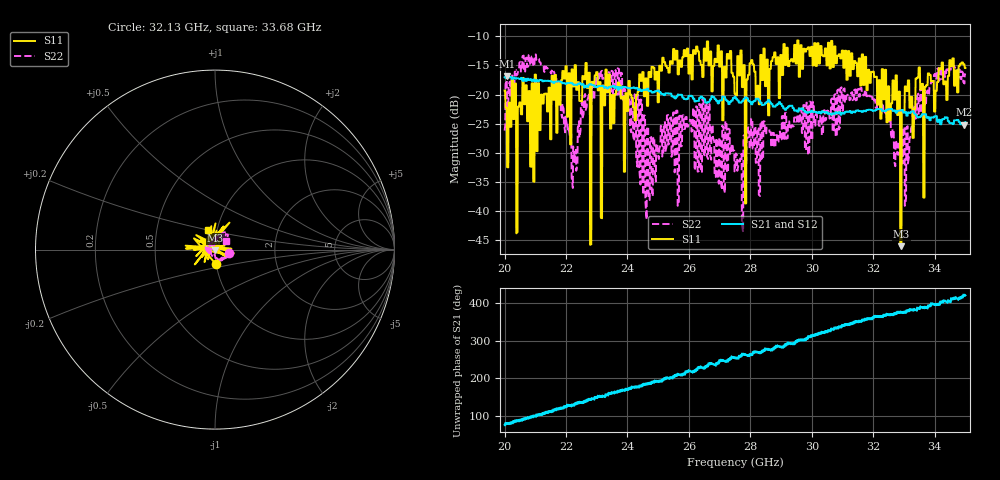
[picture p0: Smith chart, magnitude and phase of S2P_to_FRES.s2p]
! /Users/rfdate/Desktop/Miramar/trace_loss/Path_Loss_Miramar/PATH16_1.S2P
! /Users/rfdate/Desktop/Miramar/trace_loss/Measured_Trace_Loss/LB/LB_V3.s2p
!Created with skrf (http://scikit-rf.org).
# Hz S RI R 50.0
!freq ReS11 ImS11 ReS21 ImS21 ReS12 ImS12 ReS22 ImS22
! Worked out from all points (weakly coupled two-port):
!   1500 points, 20 GHz to 35 GHz, reference 50 ohm
!   highest |S21| = -16.89 dB at 20.08 GHz (marker M1); lowest = -25.2 dB at 34.97 GHz (marker M2)
!   lowest |S11| = -46.0 dB at 32.92 GHz (marker M3), VSWR 1.01, Z = 50.1 - j0.484 ohm
!   |S11| at or under -10 dB: start of sweep to end of sweep
!   |S22| runs from -43.5 to -13.1 dB; largest |S21 - S12| = 0.011
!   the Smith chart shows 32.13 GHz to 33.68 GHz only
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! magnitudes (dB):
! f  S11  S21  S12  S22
! 20 GHz  -19.3  -17.0  -17.0  -26.2
! 20.08 GHz  -32.4  -16.9  -16.8  -22.3
! 21.55 GHz  -16.8  -17.8  -17.9  -16.0
! 22.25 GHz  -18.6  -18.3  -18.4  -29.8
! 22.5 GHz  -21.2  -18.3  -18.3  -21.6
! 22.85 GHz  -17.8  -18.3  -18.4  -18.8
! 22.95 GHz  -16.7  -18.7  -18.7  -17.2
! 23.2 GHz  -18.4  -18.5  -18.5  -17.3
! 23.25 GHz  -21.9  -18.8  -18.9  -16.8
! 23.65 GHz  -19.3  -18.7  -18.7  -19.9
! 24.65 GHz  -21.9  -19.0  -19.1  -25.6
! 25 GHz  -21.3  -19.3  -19.3  -30.7
! 27.51 GHz  -19.9  -20.4  -20.4  -32.5
! 30.01 GHz  -11.8  -22.8  -22.8  -27.8
! 32.51 GHz  -18.6  -22.5  -22.6  -24.5
! 32.8 GHz  -23.5  -22.8  -22.7  -30.3
! 32.92 GHz  -46.0  -22.8  -22.8  -26.3
! 33.1 GHz  -19.4  -23.6  -23.5  -25.6
! 33.5 GHz  -15.4  -23.9  -23.9  -23.1
! 33.7 GHz  -18.7  -23.4  -23.4  -21.7
! 34.97 GHz  -14.8  -25.2  -25.2  -18.1
! 35 GHz  -15.5  -24.7  -24.8  -16.6
